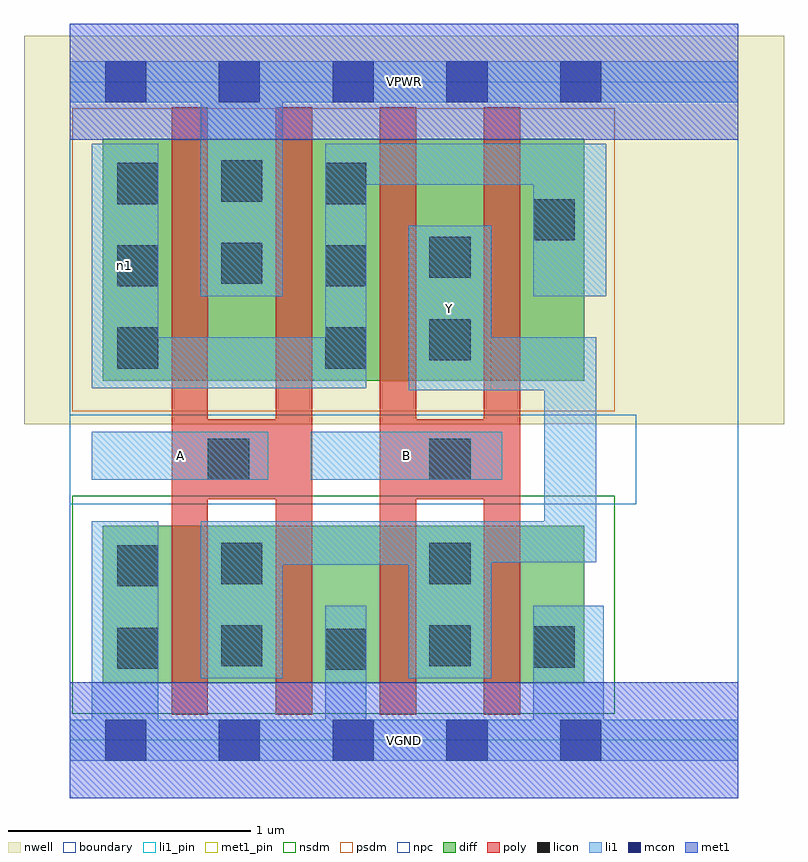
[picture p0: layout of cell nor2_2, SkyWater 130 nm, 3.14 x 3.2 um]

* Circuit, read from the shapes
.subckt nor2_2 A B VGND VPWR Y n1
XM1 Y A VGND VSUBS sky130_fd_pr__nfet_01v8 w=0.65 l=0.15 m=2
XM2 Y B VGND VSUBS sky130_fd_pr__nfet_01v8 w=0.65 l=0.15 m=2
XM3 VPWR A n1 n2 sky130_fd_pr__pfet_01v8 w=1 l=0.15 m=2
XM4 Y B n1 n2 sky130_fd_pr__pfet_01v8 w=1 l=0.15 m=2
.ends

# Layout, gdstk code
import gdstk
lib = gdstk.Library(unit=1e-6, precision=1e-09)
def R(c, l, rs):  # rectangles x0, y0, x1, y1
    for r in rs: c.add(gdstk.rectangle(r[:2], r[2:], *l))
def A(c, l, x, y, w, h, nx, ny, dx, dy):  # array of equal rectangles
    R(c, l, [(x+i*dx, y+j*dy, x+i*dx+w, y+j*dy+h) for i in range(nx) for j in range(ny)])
nwell = (64, 20)
diff = (65, 20)
poly = (66, 20)
licon = (66, 44)
li1_pin = (67, 16)
li1 = (67, 20)
mcon = (67, 44)
met1_pin = (68, 16)
met1 = (68, 20)
nsdm = (93, 44)
psdm = (94, 20)
npc = (95, 20)
boundary = (235, 4)

nor2_2 = lib.new_cell('nor2_2')
R(nor2_2, nwell, [(-0.19,1.305,2.95,2.91), (0,1.305,2.76,2.91)])
R(nor2_2, diff, [(0.135,0.235,2.125,0.885), (0.135,1.485,2.125,2.485)])
A(nor2_2, poly, 0.42, 0.105, 0.15, 2.51, 4, 1, 0.43, 0)
R(nor2_2, poly, [(0.42,0.995,1,1.325), (1.28,0.995,1.86,1.325)])
A(nor2_2, licon, 0.195, 1.535, 0.17, 0.17, 1, 3, 0, 0.34)
A(nor2_2, licon, 1.055, 1.535, 0.17, 0.17, 1, 3, 0, 0.34)
R(nor2_2, licon, [(1.055,0.29,1.225,0.46), (0.195,0.295,0.365,0.465), (1.915,0.3,2.085,0.47), (0.625,0.305,0.795,0.475), (1.485,0.305,1.655,0.475), (0.195,0.635,0.365,0.805), (0.625,0.645,0.795,0.815), (1.485,0.645,1.655,0.815), (0.57,1.075,0.74,1.245), (1.485,1.075,1.655,1.245), (1.485,1.57,1.655,1.74), (0.625,1.885,0.795,2.055), (1.485,1.91,1.655,2.08), (1.915,2.065,2.085,2.235), (0.625,2.225,0.795,2.395)])
R(nor2_2, li1_pin, [(0.09,1.075,0.82,1.275), (0.995,1.075,1.785,1.275), (1.4,1.445,1.74,2.125)])
R(nor2_2, li1, [(0,-0.085,2.76,0.085), (0.09,-0.085,0.365,0.905), (1.055,-0.085,1.225,0.555), (1.915,-0.085,2.205,0.555), (0.54,0.255,0.88,0.905), (1.4,0.255,1.74,0.905), (0.54,0.725,1.74,0.905), (0.54,0.735,2.175,0.905), (1.96,0.735,2.175,1.665), (0.09,1.075,0.82,1.275), (0.995,1.075,1.785,1.275), (1.4,1.445,1.74,2.125), (1.4,1.445,2.175,1.665), (0.09,1.455,0.365,2.465), (0.09,1.455,1.225,1.665), (1.055,1.455,1.225,2.465), (0.54,1.835,0.88,2.805), (1.915,1.835,2.215,2.465), (1.055,2.295,2.215,2.465), (0,2.635,2.76,2.805)])
A(nor2_2, mcon, 0.145, -0.085, 0.17, 0.17, 5, 2, 0.47, 2.72)
R(nor2_2, met1_pin, [(0,-0.24,2.76,0.24), (0,2.48,2.76,2.96)])
R(nor2_2, met1, [(0,-0.24,2.76,0.24), (0,2.48,2.76,2.96)])
R(nor2_2, nsdm, [(0.01,0.11,2.25,1.01)])
R(nor2_2, psdm, [(0.01,1.36,2.25,2.61)])
R(nor2_2, npc, [(0,0.975,2.34,1.345)])
R(nor2_2, boundary, [(0,0,2.76,2.72)])
nor2_2.add(gdstk.Label('A', (0.455,1.175), layer=67, texttype=5))
nor2_2.add(gdstk.Label('B', (1.39,1.175), layer=67, texttype=5))
nor2_2.add(gdstk.Label('Y', (1.57,1.785), layer=67, texttype=5))
nor2_2.add(gdstk.Label('n1', (0.227,1.96), layer=67, texttype=5))
nor2_2.add(gdstk.Label('VPWR', (1.38,2.72), layer=68, texttype=5))
nor2_2.add(gdstk.Label('VGND', (1.38,0), layer=68, texttype=5))
nor2_2.add(gdstk.Label('A', (0.455,1.175), layer=67, texttype=16))
nor2_2.add(gdstk.Label('B', (1.39,1.175), layer=67, texttype=16))
nor2_2.add(gdstk.Label('Y', (1.57,1.785), layer=67, texttype=16))
nor2_2.add(gdstk.Label('VPWR', (1.38,2.72), layer=68, texttype=16))
nor2_2.add(gdstk.Label('VGND', (1.38,0), layer=68, texttype=16))

lib.write_gds('nor2_2.gds')
